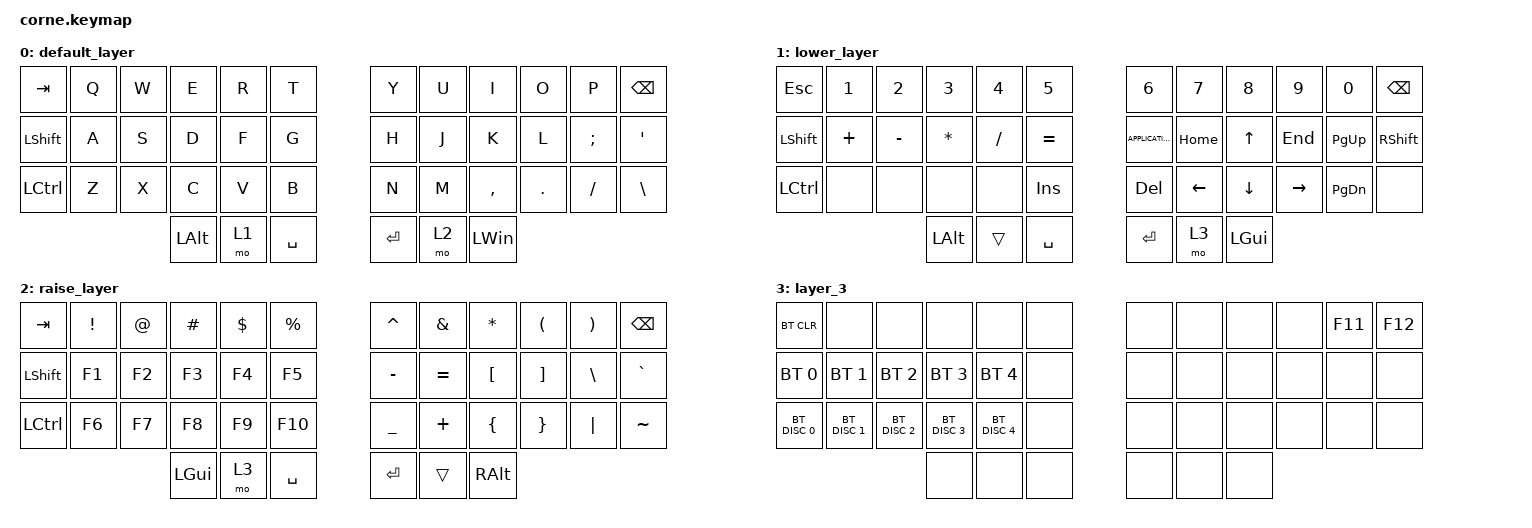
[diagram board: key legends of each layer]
/*
 * Copyright (c) 2020 The ZMK Contributors
 *
 * SPDX-License-Identifier: MIT
 */

#include <behaviors.dtsi>
#include <dt-bindings/zmk/bt.h>
#include <dt-bindings/zmk/keys.h>

/ {
    keymap {
        compatible = "zmk,keymap";

        default_layer {
            // -----------------------------------------------------------------------------------------
            // |  TAB |  Q  |  W  |  E  |  R  |  T  |   |  Y  |  U   |  I  |  O  |  P  | BSPC |
            // | CTRL |  A  |  S  |  D  |  F  |  G  |   |  H  |  J   |  K  |  L  |  ;  |  '   |
            // | SHFT |  Z  |  X  |  C  |  V  |  B  |   |  N  |  M   |  ,  |  .  |  /  | ESC  |
            //                    | GUI | LWR | SPC |   | ENT | RSE  | ALT |

            bindings = <
&kp TAB         &kp Q  &kp W  &kp E         &kp R  &kp T        &kp Y    &kp U  &kp I         &kp O    &kp P     &kp BSPC
&kp LEFT_SHIFT  &kp A  &kp S  &kp D         &kp F  &kp G        &kp H    &kp J  &kp K         &kp L    &kp SEMI  &kp SQT
&kp LCTRL       &kp Z  &kp X  &kp C         &kp V  &kp B        &kp N    &kp M  &kp COMMA     &kp DOT  &kp FSLH  &kp BACKSLASH
                              &kp LEFT_ALT  &mo 1  &kp SPACE    &kp RET  &mo 2  &kp LEFT_WIN
            >;
        };

        lower_layer {
            // -----------------------------------------------------------------------------------------
            // |  TAB |  1  |  2  |  3  |  4  |  5  |   |  6  |  7  |  8  |  9  |  0  | BSPC |
            // | BTCLR| BT1 | BT2 | BT3 | BT4 | BT5 |   | LFT | DWN |  UP | RGT |     |      |
            // | SHFT |     |     |     |     |     |   |     |     |     |     |     |      |
            //                    | GUI |     | SPC |   | ENT |     | ALT |

            bindings = <
&kp ESCAPE      &kp N1    &kp N2     &kp N3        &kp N4     &kp N5        &kp N6             &kp N7          &kp N8          &kp N9           &kp N0         &kp BSPC
&kp LEFT_SHIFT  &kp PLUS  &kp MINUS  &kp ASTERISK  &kp SLASH  &kp EQUAL     &kp K_APPLICATION  &kp HOME        &kp UP          &kp END          &kp PAGE_UP    &kp RIGHT_SHIFT
&kp LCTRL       &none     &none      &none         &none      &kp INSERT    &kp DEL            &kp LEFT_ARROW  &kp DOWN_ARROW  &kp RIGHT_ARROW  &kp PAGE_DOWN  &none
                                     &kp LEFT_ALT  &trans     &kp SPACE     &kp RET            &mo 3           &kp LEFT_GUI
            >;
        };

        raise_layer {
            // -----------------------------------------------------------------------------------------
            // |  TAB |  !  |  @  |  #  |  $  |  %  |   |  ^  |  &  |  *  |  (  |  )  | BSPC |
            // | CTRL |     |     |     |     |     |   |  -  |  =  |  [  |  ]  |  \  |  `   |
            // | SHFT |     |     |     |     |     |   |  _  |  +  |  {  |  }  | "|" |  ~   |
            //                    | GUI |     | SPC |   | ENT |     | ALT |

            bindings = <
&kp TAB         &kp EXCL  &kp AT  &kp HASH  &kp DLLR  &kp PRCNT    &kp CARET  &kp AMPS   &kp ASTRK         &kp LPAR           &kp RPAR  &kp BSPC
&kp LEFT_SHIFT  &kp F1    &kp F2  &kp F3    &kp F4    &kp F5       &kp MINUS  &kp EQUAL  &kp LEFT_BRACKET  &kp RIGHT_BRACKET  &kp BSLH  &kp GRAVE
&kp LCTRL       &kp F6    &kp F7  &kp F8    &kp F9    &kp F10      &kp UNDER  &kp PLUS   &kp LBRC          &kp RBRC           &kp PIPE  &kp TILDE
                                  &kp LGUI  &mo 3     &kp SPACE    &kp RET    &trans     &kp RALT
            >;
        };

        layer_3 {
            bindings = <
&bt BT_CLR     &none          &none          &none          &none          &none    &none  &none  &none  &none  &kp F11  &kp F12
&bt BT_SEL 0   &bt BT_SEL 1   &bt BT_SEL 2   &bt BT_SEL 3   &bt BT_SEL 4   &none    &none  &none  &none  &none  &none    &none
&bt BT_DISC 0  &bt BT_DISC 1  &bt BT_DISC 2  &bt BT_DISC 3  &bt BT_DISC 4  &none    &none  &none  &none  &none  &none    &none
                                             &none          &none          &none    &none  &none  &none
            >;
        };
    };
};

